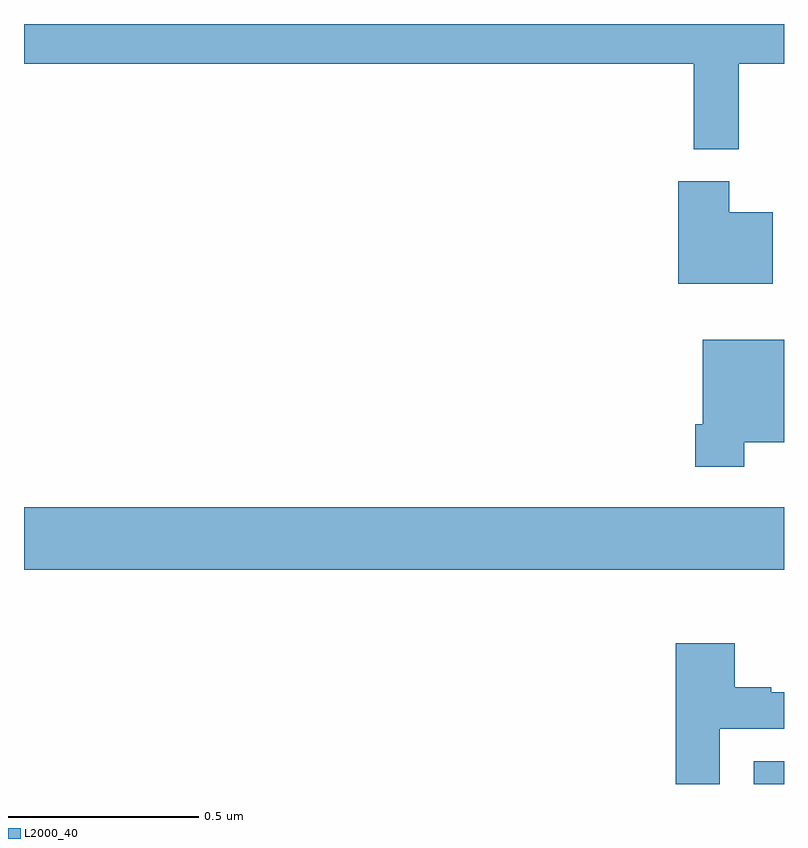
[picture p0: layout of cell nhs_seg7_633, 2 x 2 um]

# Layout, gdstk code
import gdstk
lib = gdstk.Library(unit=1e-6, precision=1e-09)
def R(c, l, rs):  # rectangles x0, y0, x1, y1
    for r in rs: c.add(gdstk.rectangle(r[:2], r[2:], *l))
def P(c, l, *ps):  # polygons
    for p in ps: c.add(gdstk.Polygon(p, *l))
L2000_40 = (2000, 40)

nhs_seg7_633 = lib.new_cell('nhs_seg7_633')
R(nhs_seg7_633, L2000_40, [(120.92,1052,121,1052.06), (119,1052.564,121,1052.728)])
P(nhs_seg7_633, L2000_40, [(120.881,1053.896),(121,1053.896),(121,1054),(119,1054),(119,1053.896),(120.763,1053.896),(120.763,1053.671),(120.881,1053.671)],
  [(120.97,1053.505),(120.856,1053.505),(120.856,1053.586),(120.722,1053.586),(120.722,1053.317),(120.97,1053.317)],
  [(120.895,1052.9),(121,1052.9),(121,1053.169),(120.786,1053.169),(120.786,1052.947),(120.766,1052.947),(120.766,1052.835),(120.895,1052.835)],
  [(120.831,1052.145),(121,1052.145),(121,1052.241),(120.967,1052.241),(120.967,1052.254),(120.871,1052.254),(120.871,1052.371),(120.715,1052.371),(120.715,1052),(120.831,1052)])

lib.write_gds('nhs_seg7_633.gds')
